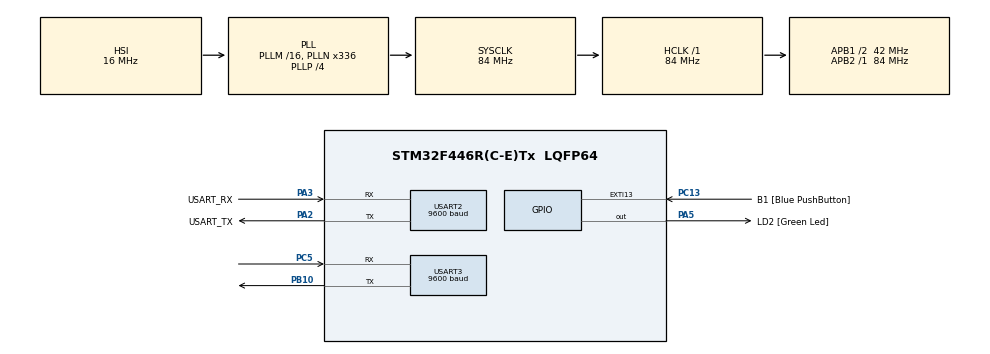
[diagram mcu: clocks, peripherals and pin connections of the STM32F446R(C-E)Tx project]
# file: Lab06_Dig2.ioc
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Mcu.Family=STM32F4
Mcu.Name=STM32F446R(C-E)Tx
Mcu.Package=LQFP64
NVIC.PriorityGroup=NVIC_PRIORITYGROUP_0
NVIC.USART2_IRQn=true\:0\:0\:false\:false\:true\:true\:true\:true
NVIC.USART3_IRQn=true\:0\:0\:false\:false\:true\:true\:true\:true
PA13.GPIO_Label=TMS
PA13.Mode=Serial_Wire
PA13.Signal=SYS_JTMS-SWDIO
PA14.GPIO_Label=TCK
PA14.Mode=Serial_Wire
PA14.Signal=SYS_JTCK-SWCLK
PA2.GPIO_Label=USART_TX
PA2.Mode=Asynchronous
PA2.Signal=USART2_TX
PA3.GPIO_Label=USART_RX
PA3.Mode=Asynchronous
PA3.Signal=USART2_RX
PA5.GPIO_Label=LD2 [Green Led]
PA5.Signal=GPIO_Output
PB10.Mode=Asynchronous
PB10.Signal=USART3_TX
PB3.GPIO_Label=SWO
PB3.Signal=SYS_JTDO-SWO
PC13.GPIO_Label=B1 [Blue PushButton]
PC13.GPIO_ModeDefaultEXTI=GPIO_MODE_IT_FALLING
PC13.Signal=GPXTI13
PC14-OSC32_IN.Mode=LSE-External-Oscillator
PC14-OSC32_IN.Signal=RCC_OSC32_IN
PC15-OSC32_OUT.Mode=LSE-External-Oscillator
PC15-OSC32_OUT.Signal=RCC_OSC32_OUT
PC5.Mode=Asynchronous
PC5.Signal=USART3_RX
PH0-OSC_IN.Mode=HSE-External-Oscillator
PH0-OSC_IN.Signal=RCC_OSC_IN
PH1-OSC_OUT.Mode=HSE-External-Oscillator
PH1-OSC_OUT.Signal=RCC_OSC_OUT
ProjectManager.HeapSize=0x200
ProjectManager.StackSize=0x400
ProjectManager.TargetToolchain=STM32CubeIDE
RCC.48MHZClocksFreq_Value=84000000
RCC.AHBFreq_Value=84000000
RCC.APB1CLKDivider=RCC_HCLK_DIV2
RCC.APB1Freq_Value=42000000
RCC.APB1TimFreq_Value=84000000
RCC.APB2Freq_Value=84000000
RCC.APB2TimFreq_Value=84000000
RCC.CortexFreq_Value=84000000
RCC.FLatency-AdvancedSettings=FLASH_LATENCY_2
RCC.HCLKFreq_Value=84000000
RCC.HSE_VALUE=8000000
RCC.HSI_VALUE=16000000
RCC.PLLN=336
RCC.PLLP=RCC_PLLP_DIV4
RCC.SYSCLKFreq_VALUE=84000000
RCC.SYSCLKSource=RCC_SYSCLKSOURCE_PLLCLK
RCC.USBFreq_Value=168000000
RCC.VCOOutputFreq_Value=336000000
USART2.BaudRate=9600
USART2.VirtualMode=VM_ASYNC
USART3.BaudRate=9600
USART3.VirtualMode=VM_ASYNC
board=NUCLEO-F446RE

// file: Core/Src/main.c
 /* USER CODE BEGIN Header */
/**
  ******************************************************************************
  * @file           : main.c
  * @brief          : Main program body
  ******************************************************************************
  * @attention
  * Copyright (c) 2025 STMicroelectronics.
  * All rights reserved.
  * This software is licensed under terms that can be found in the LICENSE file
  * in the root directory of this software component.
  * If no LICENSE file comes with this software, it is provided AS-IS.
  ******************************************************************************
  */
/* USER CODE END Header */
#include "main.h"
#include <string.h>

UART_HandleTypeDef huart2;   // PC (VCP): PA2/PA3
UART_HandleTypeDef huart3;   // ATmega:   PB10/PC5

/* USER CODE BEGIN PV */
/* Variables visibles para el debugger */
volatile uint8_t rx3 = 0;        /* último byte recibido por USART3 */
volatile uint8_t last_rx3 = 0;   /* espejo estable para Live Expressions */
char last_msg[20] = "";          /* texto enviado a la PC */
/* USER CODE END PV */

void SystemClock_Config(void);
static void MX_GPIO_Init(void);
static void MX_USART2_UART_Init(void);
static void MX_USART3_UART_Init(void);

/* USER CODE BEGIN PFP */
static const char* map_action(uint8_t c);
/* USER CODE END PFP */

/* USER CODE BEGIN 0 */
static const char* map_action(uint8_t c) {
  switch (c) {
    case 'U': return "Arriba\r\n";
    case 'D': return "Abajo\r\n";
    case 'L': return "Izquierda\r\n";
    case 'R': return "Derecha\r\n";
    case 'A': return "Accion A\r\n";
    case 'B': return "Accion B\r\n";
    default:  return "Desconocido\r\n";
  }
}
/* USER CODE END 0 */

int main(void)
{
  HAL_Init();
  SystemClock_Config();

  MX_GPIO_Init();
  MX_USART2_UART_Init();
  MX_USART3_UART_Init();

  /* USER CODE BEGIN 2 */
  /* Arrancar recepción por interrupción desde el ATmega (1 byte) */
  HAL_UART_Receive_IT(&huart3, (uint8_t*)&rx3, 1);
  /* USER CODE END 2 */

  while (1)
  {
    /* Loop principal vacío: todo llega por interrupción y se reenvía en el callback */
  }
}

void SystemClock_Config(void)
{
  RCC_OscInitTypeDef RCC_OscInitStruct = {0};
  RCC_ClkInitTypeDef RCC_ClkInitStruct = {0};

  __HAL_RCC_PWR_CLK_ENABLE();
  __HAL_PWR_VOLTAGESCALING_CONFIG(PWR_REGULATOR_VOLTAGE_SCALE3);

  /* HSI + PLL a 84 MHz */
  RCC_OscInitStruct.OscillatorType = RCC_OSCILLATORTYPE_HSI;
  RCC_OscInitStruct.HSIState = RCC_HSI_ON;
  RCC_OscInitStruct.HSICalibrationValue = RCC_HSICALIBRATION_DEFAULT;
  RCC_OscInitStruct.PLL.PLLState = RCC_PLL_ON;
  RCC_OscInitStruct.PLL.PLLSource = RCC_PLLSOURCE_HSI;
  RCC_OscInitStruct.PLL.PLLM = 16;
  RCC_OscInitStruct.PLL.PLLN = 336;
  RCC_OscInitStruct.PLL.PLLP = RCC_PLLP_DIV4;
  RCC_OscInitStruct.PLL.PLLQ = 2;
  RCC_OscInitStruct.PLL.PLLR = 2;
  if (HAL_RCC_OscConfig(&RCC_OscInitStruct) != HAL_OK) { Error_Handler(); }

  RCC_ClkInitStruct.ClockType = RCC_CLOCKTYPE_HCLK|RCC_CLOCKTYPE_SYSCLK
                              |RCC_CLOCKTYPE_PCLK1|RCC_CLOCKTYPE_PCLK2;
  RCC_ClkInitStruct.SYSCLKSource = RCC_SYSCLKSOURCE_PLLCLK;
  RCC_ClkInitStruct.AHBCLKDivider = RCC_SYSCLK_DIV1;
  RCC_ClkInitStruct.APB1CLKDivider = RCC_HCLK_DIV2;  // 42 MHz
  RCC_ClkInitStruct.APB2CLKDivider = RCC_HCLK_DIV1;  // 84 MHz

  if (HAL_RCC_ClockConfig(&RCC_ClkInitStruct, FLASH_LATENCY_2) != HAL_OK) { Error_Handler(); }
}

static void MX_USART2_UART_Init(void)
{
  huart2.Instance = USART2;
  huart2.Init.BaudRate = 9600;
  huart2.Init.WordLength = UART_WORDLENGTH_8B;
  huart2.Init.StopBits = UART_STOPBITS_1;
  huart2.Init.Parity = UART_PARITY_NONE;
  huart2.Init.Mode = UART_MODE_TX_RX;
  huart2.Init.HwFlowCtl = UART_HWCONTROL_NONE;
  huart2.Init.OverSampling = UART_OVERSAMPLING_16;
  if (HAL_UART_Init(&huart2) != HAL_OK) { Error_Handler(); }
}

static void MX_USART3_UART_Init(void)
{
  huart3.Instance = USART3;
  huart3.Init.BaudRate = 9600;
  huart3.Init.WordLength = UART_WORDLENGTH_8B;
  huart3.Init.StopBits = UART_STOPBITS_1;
  huart3.Init.Parity = UART_PARITY_NONE;
  huart3.Init.Mode = UART_MODE_TX_RX;
  huart3.Init.HwFlowCtl = UART_HWCONTROL_NONE;
  huart3.Init.OverSampling = UART_OVERSAMPLING_16;
  if (HAL_UART_Init(&huart3) != HAL_OK) { Error_Handler(); }
}

static void MX_GPIO_Init(void)
{
  GPIO_InitTypeDef GPIO_InitStruct = {0};

  __HAL_RCC_GPIOC_CLK_ENABLE();
  __HAL_RCC_GPIOH_CLK_ENABLE();
  __HAL_RCC_GPIOA_CLK_ENABLE();
  __HAL_RCC_GPIOB_CLK_ENABLE();

  /* LED LD2 en OFF al inicio */
  HAL_GPIO_WritePin(LD2_GPIO_Port, LD2_Pin, GPIO_PIN_RESET);

  /* Botón azul (opcional, no usado) */
  GPIO_InitStruct.Pin = B1_Pin;
  GPIO_InitStruct.Mode = GPIO_MODE_IT_FALLING;
  GPIO_InitStruct.Pull = GPIO_NOPULL;
  HAL_GPIO_Init(B1_GPIO_Port, &GPIO_InitStruct);

  /* LED LD2 como salida */
  GPIO_InitStruct.Pin = LD2_Pin;
  GPIO_InitStruct.Mode = GPIO_MODE_OUTPUT_PP;
  GPIO_InitStruct.Pull = GPIO_NOPULL;
  GPIO_InitStruct.Speed = GPIO_SPEED_FREQ_LOW;
  HAL_GPIO_Init(LD2_GPIO_Port, &GPIO_InitStruct);
}

/* USER CODE BEGIN 4 */
/* Callback de recepción por interrupción (USARTs) */
void HAL_UART_RxCpltCallback(UART_HandleTypeDef *huart)
{
  if (huart->Instance == USART3) {
    /* Guardar valores “visibles” para el debugger */
    last_rx3 = rx3;
    strncpy(last_msg, map_action(rx3), sizeof(last_msg)-1);
    last_msg[sizeof(last_msg)-1] = '\0';

    /* Feedback visual: toggle LED al recibir */
    HAL_GPIO_TogglePin(LD2_GPIO_Port, LD2_Pin);

    /* Reenviar a la PC por USART2 */
    HAL_UART_Transmit(&huart2, (uint8_t*)last_msg, strlen(last_msg), HAL_MAX_DELAY);

    /* Rearmar la recepción de 1 byte desde el ATmega */
    HAL_UART_Receive_IT(&huart3, (uint8_t*)&rx3, 1);
  }
}

/* (opcional) Rearmar en caso de error en USART3 */
void HAL_UART_ErrorCallback(UART_HandleTypeDef *huart)
{
  if (huart->Instance == USART3) {
    HAL_UART_Receive_IT(&huart3, (uint8_t*)&rx3, 1);
  }
}
/* USER CODE END 4 */

void Error_Handler(void)
{
  __disable_irq();
  while (1) { }
}
